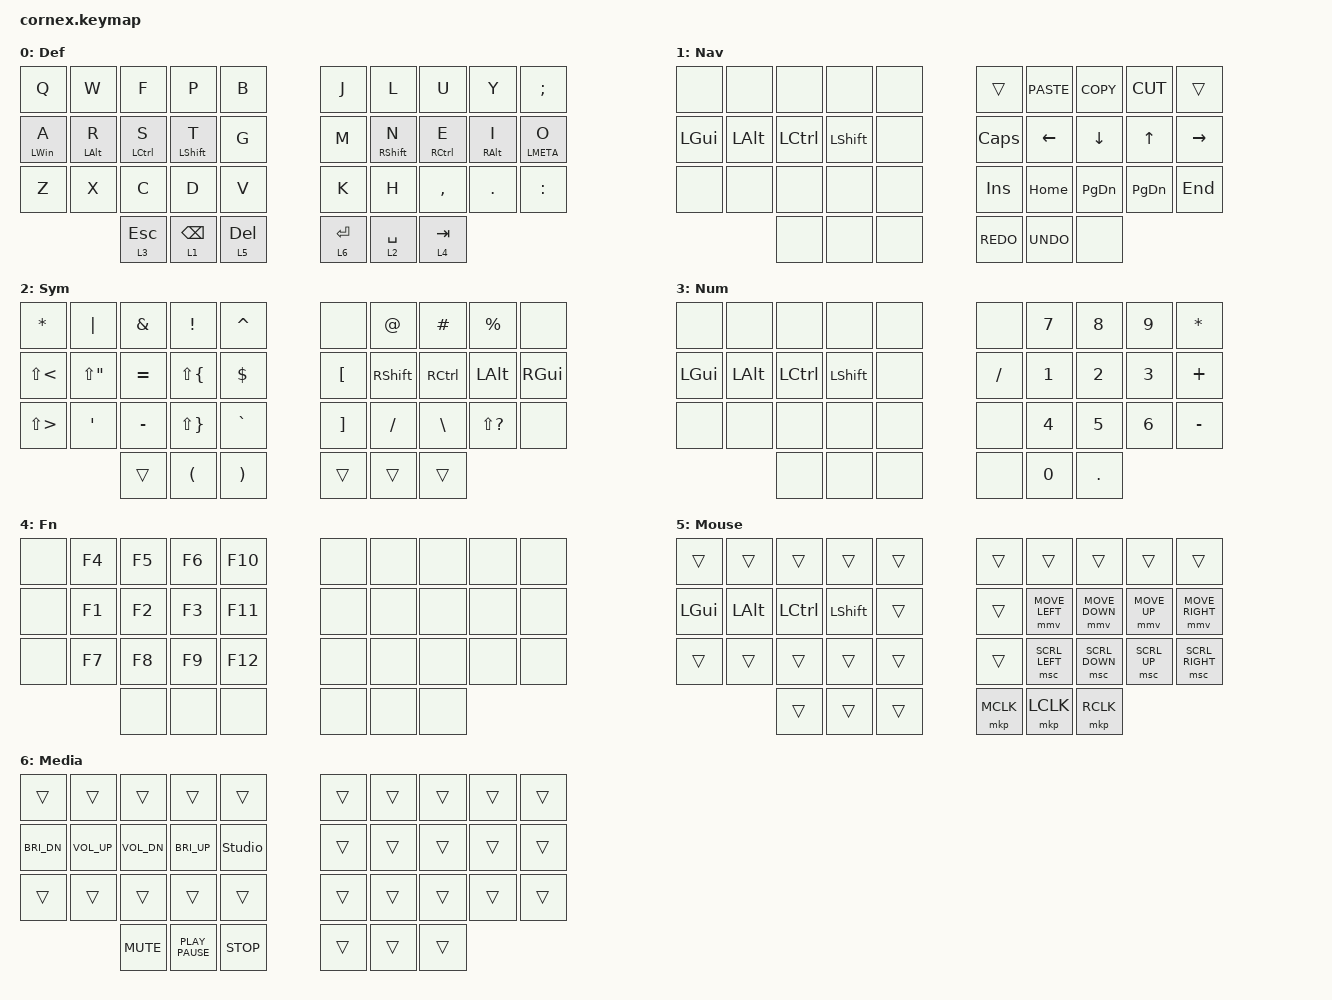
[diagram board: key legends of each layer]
#include <zmk-helpers/helper.h> // Requires zmk-helpers module.
#include "zmk-helpers/key-labels/36.h"

#ifdef CONFIG_WIRELESS

#define _BT_SEL_KEYS_                                                        \
      &bt BT_SEL 0 &bt BT_SEL 1 &bt BT_SEL 2 &bt BT_SEL 3 &bt BT_CLR

#else

#define _BT_SEL_KEYS_ &trans &trans &trans &trans &trans

#endif

#define DEF 0
#define NAV 1
#define SYM 2
#define NUM 3
#define FN 4
#define MOUSE 5
#define MEDIA 6
#define XXX &none
#define ___ &trans

/* Global defaults */

#define QUICK_TAP_MS 175

/* Homerow mods */

#define KEYS_L LT0 LT1 LT2 LT3 LT4 LM0 LM1 LM2 LM3 LM4 LB0 LB1 LB2 LB3 LB4
#define KEYS_R RT0 RT1 RT2 RT3 RT4 RM0 RM1 RM2 RM3 RM4 RB0 RB1 RB2 RB3 RB4
#define THUMBS LH2 LH1 LH0 RH0 RH1 RH2 // Thumbs on 36+ keys.

#define MAKE_HRM(NAME, HOLD, TAP, TRIGGER_POS)                                 \
  ZMK_HOLD_TAP(NAME, bindings = <HOLD>, <TAP>; flavor = "balanced";            \
               tapping-term-ms = <280>; quick-tap-ms = <QUICK_TAP_MS>;         \
               require-prior-idle-ms = <150>; hold-trigger-on-release;         \
               hold-trigger-key-positions = <TRIGGER_POS>;)

MAKE_HRM(hml, &kp, &kp, KEYS_R THUMBS) // Left-hand HRMs.
MAKE_HRM(hmr, &kp, &kp, KEYS_L THUMBS) // Right-hand HRMs.
// Hack: Make HRM combos tap-only (cf, ZMK issue #544).

#define ZMK_COMBO_8(NAME, TAP, POS, LAYERS, COMBO_MS, IDLE_MS, HOLD, SIDE)     \
  MAKE_HRM(hm_combo_##NAME, &kp, TAP, SIDE THUMBS)                             \
  ZMK_COMBO_6(NAME, &hm_combo_##NAME HOLD 0, POS, LAYERS, COMBO_MS, IDLE_MS)

/* Mouse emulation */
// Settings tuned for 3840 x 2160 display resolution

#define ZMK_POINTING_DEFAULT_MOVE_VAL 600 // 600
#define ZMK_POINTING_DEFAULT_SCRL_VAL 20  // 10

#include <input/processors.dtsi>
#include <zephyr/dt-bindings/input/input-event-codes.h>
#include <behaviors.dtsi>
#include <dt-bindings/zmk/keys.h>
#include <dt-bindings/zmk/pointing.h>

// Based on @caksoylar's config, defaults in comments

&mmv {
    acceleration-exponent = <1>;          // 1
    time-to-max-speed-ms = <500>;         // 300
    delay-ms = <0>;                       // 0
};

&msc {
    acceleration-exponent = <0>;          // 0
    time-to-max-speed-ms = <300>;         // 300
    delay-ms = <0>;                       // 0
};

&mmv_input_listener {
    warp {
        layers = <NAV>;
        input-processors = <&zip_xy_scaler 3 1>;
    };

    precision {
        layers = <FN>;
        input-processors = <&zip_xy_scaler 1 2>;
    };
};

/ {
    zip_scroll_scaler: zip_scroll_scaler {
        compatible = "zmk,input-processor-scaler";
        #input-processor-cells = <2>;
        type = <INPUT_EV_REL>;
        codes = <INPUT_REL_WHEEL INPUT_REL_HWHEEL>;
        track-remainders;
    };
};

&msc_input_listener {
    warp {
        layers = <NAV>;
        input-processors = <&zip_scroll_scaler 2 1>;
    };

    precision {
        layers = <FN>;
        input-processors = <&zip_scroll_scaler 1 2>;
    };
};

/* Nav cluster */
// Trigger tap-action on all interrupts.

#define MT_CORE                                                                \
  flavor = "tap-preferred";                                                    \
  tapping-term-ms = <220>;                                                     \
  quick-tap-ms = <220>;                                                        \
  hold-trigger-key-positions = <0>;

&mt { MT_CORE };

ZMK_HOLD_TAP(mt_home, bindings = <&masked_home>, <&kp>; MT_CORE)
ZMK_HOLD_TAP(mt_end, bindings = <&masked_end>, <&kp>; MT_CORE)

#define NAV_LEFT  &mt_home 0   LEFT  // Tap: left  | Long-tap: start of line.
#define NAV_RIGHT &mt_end 0    RIGHT // Tap: right | Long-tap: end   of line.
#define NAV_UP    &mt LC(HOME) UP    // Tap: up    | Long-tap: start of doc.
#define NAV_DOWN  &mt LC(END)  DOWN  // Tap: down  | Long-tap: end   of doc.
#define NAV_BSPC  &mt LC(BSPC) BSPC  // Tap: bspc  | Long-tap: delete word bwd.
#define NAV_DEL   &mt LC(DEL)  DEL   // Tap: del   | Long-tap: delete word fwd.

// Mask CTRL on left/right hold to avoid accidental jumps to start/end of doc.
#define MASK_MODS(NAME, MODS, BINDING)                                         \
  ZMK_MOD_MORPH(NAME, bindings = <BINDING>, <BINDING>; mods = <MODS>;)

MASK_MODS(masked_home, (MOD_LCTL), &kp HOME)
MASK_MODS(masked_end,  (MOD_LCTL), &kp END)

&sk {
    release-after-ms = <900>;
    quick-release;
};

&sl { ignore-modifiers; };

&lt {
    flavor = "balanced";
    tapping-term-ms = <200>;
    quick-tap-ms = <QUICK_TAP_MS>;
};


/ {
    keymap {
        compatible = "zmk,keymap";

        Def {
            bindings = <
  &kp Q            &kp W            &kp F         &kp P              &kp B           &kp J        &kp L         &kp U         &kp Y        &kp SEMI
  &hml LEFT_WIN A  &hml LEFT_ALT R  &hml LCTRL S  &hml LEFT_SHIFT T  &kp G           &kp M        &hmr RSHFT N  &hmr RCTRL E  &hmr RALT I  &hmr LMETA O
  &kp Z            &kp X            &kp C         &kp D              &kp V           &kp K        &kp H         &kp COMMA     &kp DOT      &kp COLON
                                    &lt 3 ESC     &lt 1 BACKSPACE    &lt 5 DELETE    &lt 6 ENTER  &lt 2 SPACE   &lt 4 TAB
>;
        };

        Nav {
            bindings = <
  &none         &none     &none      &none      &none    &trans      &kp K_PASTE     &kp K_COPY      &kp K_CUT      &trans
  &kp LEFT_GUI  &kp LALT  &kp LCTRL  &kp LSHFT  &none    &kp CAPS    &kp LEFT_ARROW  &kp DOWN_ARROW  &kp UP_ARROW   &kp RIGHT_ARROW
  &none         &none     &none      &none      &none    &kp INS     &kp HOME        &kp PAGE_DOWN   &kp PAGE_DOWN  &kp END
                          &none      &none      &none    &kp K_REDO  &kp K_UNDO      &none
>;
        };

        Sym {
            bindings = <
  &kp ASTERISK  &kp PIPE     &kp AMPS   &kp EXCL      &kp CARET    &none     &kp AT     &kp HASH   &kp PERCENT    &none
  &kp LS(LT)    &kp LS(DQT)  &kp EQUAL  &kp LS(LBRC)  &kp DLLR     &kp LBKT  &kp RSHFT  &kp RCTRL  &kp LALT       &kp RGUI
  &kp LS(GT)    &kp SQT      &kp MINUS  &kp LS(RBRC)  &kp GRAVE    &kp RBKT  &kp FSLH   &kp BSLH   &kp LS(QMARK)  &none
                             &trans     &kp LPAR      &kp RPAR     &trans    &trans     &trans
>;
        };

        Num {
            bindings = <
  &none     &none     &none      &none      &none    &none     &kp N7  &kp N8   &kp N9  &kp STAR
  &kp LGUI  &kp LALT  &kp LCTRL  &kp LSHFT  &none    &kp FSLH  &kp N1  &kp N2   &kp N3  &kp PLUS
  &none     &none     &none      &none      &none    &none     &kp N4  &kp N5   &kp N6  &kp MINUS
                      &none      &none      &none    &none     &kp N0  &kp DOT
>;
        };

        Fn {
            bindings = <
  &none  &kp F4  &kp F5  &kp F6  &kp F10    &none  &none  &none  &none  &none
  &none  &kp F1  &kp F2  &kp F3  &kp F11    &none  &none  &none  &none  &none
  &none  &kp F7  &kp F8  &kp F9  &kp F12    &none  &none  &none  &none  &none
                 &none   &none   &none      &none  &none  &none
>;
        };

        Mouse {
            bindings = <
  &trans    &trans    &trans     &trans     &trans    &trans     &trans          &trans          &trans        &trans
  &kp LGUI  &kp LALT  &kp LCTRL  &kp LSHFT  &trans    &trans     &mmv MOVE_LEFT  &mmv MOVE_DOWN  &mmv MOVE_UP  &mmv MOVE_RIGHT
  &trans    &trans    &trans     &trans     &trans    &trans     &msc SCRL_LEFT  &msc SCRL_DOWN  &msc SCRL_UP  &msc SCRL_RIGHT
                      &trans     &trans     &trans    &mkp MCLK  &mkp LCLK       &mkp RCLK
>;
        };Media {
         bindings = <
  &trans        &trans        &trans        &trans            &trans            &trans  &trans  &trans  &trans  &trans
  &kp C_BRI_DN  &kp K_VOL_UP  &kp K_VOL_DN  &kp C_BRI_UP      &studio_unlock    &trans  &trans  &trans  &trans  &trans
  &trans        &trans        &trans        &trans            &trans            &trans  &trans  &trans  &trans  &trans
                              &kp K_MUTE    &kp K_PLAY_PAUSE  &kp K_STOP        &trans  &trans  &trans
>;};
        /*
        Media {
            bindings = <
  &trans        &trans    &trans     &trans     &trans    &trans      &trans           &trans        &trans        &trans
  &kp LEFT_GUI  &kp LALT  &kp LCTRL  &kp LSHFT  &trans    &trans      &kp C_BRI_DN     &kp C_VOL_DN  &kp C_VOL_UP  &kp C_BRI_DN
  &trans        &trans    &trans     &trans     &trans    &trans      &bt BT_SEL 0     &bt BT_SEL 1  &trans        &trans
                          &trans     &trans     &trans    &kp C_STOP  &kp PAUSE_BREAK  &kp K_MUTE
            >;
        };
        */
    };
};
